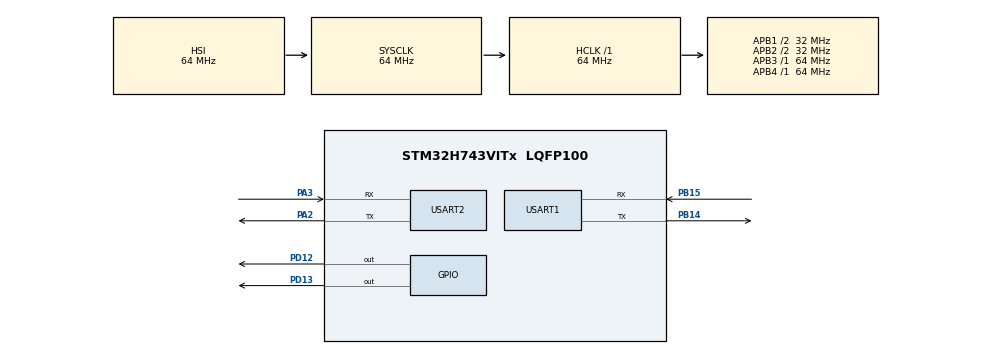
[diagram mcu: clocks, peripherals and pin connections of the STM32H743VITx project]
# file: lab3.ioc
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CORTEX_M7.default_mode_Activation=1
Mcu.Family=STM32H7
Mcu.Name=STM32H743VITx
Mcu.Package=LQFP100
NVIC.PriorityGroup=NVIC_PRIORITYGROUP_4
NVIC.USART1_IRQn=true\:0\:0\:false\:false\:true\:true\:true\:true
NVIC.USART2_IRQn=true\:0\:0\:false\:false\:true\:true\:true\:true
PA2.Mode=Asynchronous
PA2.Signal=USART2_TX
PA3.Mode=Asynchronous
PA3.Signal=USART2_RX
PB14.Mode=Asynchronous
PB14.Signal=USART1_TX
PB15.Mode=Asynchronous
PB15.Signal=USART1_RX
PD12.Signal=GPIO_Output
PD13.Signal=GPIO_Output
PH0-OSC_IN\ (PH0).Mode=HSE-External-Oscillator
PH0-OSC_IN\ (PH0).Signal=RCC_OSC_IN
PH1-OSC_OUT\ (PH1).Mode=HSE-External-Oscillator
PH1-OSC_OUT\ (PH1).Signal=RCC_OSC_OUT
ProjectManager.HeapSize=0x200
ProjectManager.StackSize=0x400
ProjectManager.TargetToolchain=STM32CubeIDE
RCC.ADCFreq_Value=129000000
RCC.APB1Freq_Value=32000000
RCC.APB2Freq_Value=32000000
RCC.APB3Freq_Value=64000000
RCC.APB4Freq_Value=64000000
RCC.CortexFreq_Value=64000000
RCC.D2PPRE1=RCC_APB1_DIV2
RCC.D2PPRE2=RCC_APB2_DIV2
RCC.HCLKFreq_Value=64000000
RCC.SYSCLKFreq_VALUE=64000000
RCC.USBFreq_Value=129000000
USART1.VirtualMode-Asynchronous=VM_ASYNC
USART2.VirtualMode-Asynchronous=VM_ASYNC
VP_MEMORYMAP_VS_MEMORYMAP.Mode=CurAppReg
board=custom

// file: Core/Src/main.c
/* USER CODE BEGIN Header */
/**
  ******************************************************************************
  * @file           : main.c
  * @brief          : Main program body
  ******************************************************************************
  * @attention
  *
  * Copyright (c) 2026 STMicroelectronics.
  * All rights reserved.
  *
  * This software is licensed under terms that can be found in the LICENSE file
  * in the root directory of this software component.
  * If no LICENSE file comes with this software, it is provided AS-IS.
  *
  ******************************************************************************
  */
/* USER CODE END Header */
#include "main.h"

/* USER CODE BEGIN Includes */
#include <string.h>
#include <ctype.h>
/* USER CODE END Includes */

/* USER CODE BEGIN PD */
#define DOT_MS 150 // Тривалість "крапки" у мілісекундах
/* USER CODE END PD */

UART_HandleTypeDef huart1;
UART_HandleTypeDef huart2;

/* USER CODE BEGIN PV */
uint8_t rx_buffer[5];          // Буфер для прийому 5 символів ("Test5")
uint8_t rx_flag = 0;           // Прапорець успішного прийому
uint32_t last_tx_time = 0;     // Час останньої передачі USART2

const char* morse_letters[] = {
    ".-", "-...", "-.-.", "-..", ".", "..-.", "--.", "....", "..", ".---",
    "-.-", ".-..", "--", "-.", "---", ".--.", "--.-", ".-.", "...", "-",
    "..-", "...-", ".--", "-..-", "-.--", "--.."
};
const char* morse_numbers[] = {
    "-----", ".----", "..---", "...--", "....-", ".....",
    "-....", "--...", "---..", "----."
};

/* USER CODE END PV */

void SystemClock_Config(void);
static void MPU_Config(void);
static void MX_GPIO_Init(void);
static void MX_USART1_UART_Init(void);
static void MX_USART2_UART_Init(void);

/* USER CODE BEGIN 0 */
void CustomDelayAndProcessTX(uint32_t delay_ms) {
    uint32_t start_time = HAL_GetTick();
    while ((HAL_GetTick() - start_time) < delay_ms) {
        // Якщо пройшла 1 секунда (1000 мс) - відправляємо дані
        if ((HAL_GetTick() - last_tx_time) >= 1000) {
            last_tx_time = HAL_GetTick();
            // Використовуємо переривання, щоб не блокувати цикл
            HAL_UART_Transmit_IT(&huart2, (uint8_t*)"Test5", 5);
        }
    }
}

// Функції для відтворення крапки та тире
void BlinkDot() {
    HAL_GPIO_WritePin(GPIOD, GPIO_PIN_12 | GPIO_PIN_13, GPIO_PIN_SET);
    CustomDelayAndProcessTX(DOT_MS);
    HAL_GPIO_WritePin(GPIOD, GPIO_PIN_12 | GPIO_PIN_13, GPIO_PIN_RESET);
    CustomDelayAndProcessTX(DOT_MS); // Пауза між символами однієї букви
}

void BlinkDash() {
    HAL_GPIO_WritePin(GPIOD, GPIO_PIN_12 | GPIO_PIN_13, GPIO_PIN_SET);
    CustomDelayAndProcessTX(DOT_MS * 3); // Тире = 3 крапки
    HAL_GPIO_WritePin(GPIOD, GPIO_PIN_12 | GPIO_PIN_13, GPIO_PIN_RESET);
    CustomDelayAndProcessTX(DOT_MS);
}

// Перетворення рядка у Морзе
void PlayMorseString(char* str, uint16_t len) {
    for(int i = 0; i < len; i++) {
        char c = toupper(str[i]);
        const char* sequence = NULL;

        if(c >= 'A' && c <= 'Z') sequence = morse_letters[c - 'A'];
        else if(c >= '0' && c <= '9') sequence = morse_numbers[c - '0'];

        if(sequence) {
            for(int j = 0; sequence[j] != '\0'; j++) {
                if(sequence[j] == '.') BlinkDot();
                else if(sequence[j] == '-') BlinkDash();
            }
            // Пауза між буквами (вже була затримка DOT_MS, додаємо ще 2)
            CustomDelayAndProcessTX(DOT_MS * 2);
        }
    }
    // Пауза між словами (зазвичай 7 крапок)
    CustomDelayAndProcessTX(DOT_MS * 4);
}

// Коллбек: викликається, коли USART1 прийняв усі 5 символів
void HAL_UART_RxCpltCallback(UART_HandleTypeDef *huart) {
    if (huart->Instance == USART1) {
        rx_flag = 1;
        // Знову вмикаємо прийом наступних 5 байт
        HAL_UART_Receive_IT(&huart1, rx_buffer, 5);
    }
}
/* USER CODE END 0 */

int main(void)
{

  /* MPU Configuration--------------------------------------------------------*/
  MPU_Config();

  /* MCU Configuration--------------------------------------------------------*/

  /* Reset of all peripherals, Initializes the Flash interface and the Systick. */
  HAL_Init();

  /* Configure the system clock */
  SystemClock_Config();

  /* Initialize all configured peripherals */
  MX_GPIO_Init();
  MX_USART1_UART_Init();
  MX_USART2_UART_Init();
  /* USER CODE BEGIN 2 */
  HAL_UART_Receive_IT(&huart1, rx_buffer, 5);
  last_tx_time = HAL_GetTick(); // Ініціалізуємо таймер
  /* USER CODE END 2 */

  /* Infinite loop */
  while (1)
  {

    /* USER CODE BEGIN 3 */
	  CustomDelayAndProcessTX(10);І
	      // Якщо отримали дані - відтворюємо Морзе
	      if (rx_flag == 1) {
	          rx_flag = 0;
	          PlayMorseString((char*)rx_buffer, 5);
	      }
  }
  /* USER CODE END 3 */
}

void SystemClock_Config(void)
{
  RCC_OscInitTypeDef RCC_OscInitStruct = {0};
  RCC_ClkInitTypeDef RCC_ClkInitStruct = {0};

  /** Supply configuration update enable
  */
  HAL_PWREx_ConfigSupply(PWR_LDO_SUPPLY);

  /** Configure the main internal regulator output voltage
  */
  __HAL_PWR_VOLTAGESCALING_CONFIG(PWR_REGULATOR_VOLTAGE_SCALE3);

  while(!__HAL_PWR_GET_FLAG(PWR_FLAG_VOSRDY)) {}

  /** Initializes the RCC Oscillators according to the specified parameters
  * in the RCC_OscInitTypeDef structure.
  */
  RCC_OscInitStruct.OscillatorType = RCC_OSCILLATORTYPE_HSI;
  RCC_OscInitStruct.HSIState = RCC_HSI_DIV1;
  RCC_OscInitStruct.HSICalibrationValue = RCC_HSICALIBRATION_DEFAULT;
  RCC_OscInitStruct.PLL.PLLState = RCC_PLL_NONE;
  if (HAL_RCC_OscConfig(&RCC_OscInitStruct) != HAL_OK)
  {
    Error_Handler();
  }

  /** Initializes the CPU, AHB and APB buses clocks
  */
  RCC_ClkInitStruct.ClockType = RCC_CLOCKTYPE_HCLK|RCC_CLOCKTYPE_SYSCLK
                              |RCC_CLOCKTYPE_PCLK1|RCC_CLOCKTYPE_PCLK2
                              |RCC_CLOCKTYPE_D3PCLK1|RCC_CLOCKTYPE_D1PCLK1;
  RCC_ClkInitStruct.SYSCLKSource = RCC_SYSCLKSOURCE_HSI;
  RCC_ClkInitStruct.SYSCLKDivider = RCC_SYSCLK_DIV1;
  RCC_ClkInitStruct.AHBCLKDivider = RCC_HCLK_DIV1;
  RCC_ClkInitStruct.APB3CLKDivider = RCC_APB3_DIV1;
  RCC_ClkInitStruct.APB1CLKDivider = RCC_APB1_DIV2;
  RCC_ClkInitStruct.APB2CLKDivider = RCC_APB2_DIV2;
  RCC_ClkInitStruct.APB4CLKDivider = RCC_APB4_DIV1;

  if (HAL_RCC_ClockConfig(&RCC_ClkInitStruct, FLASH_LATENCY_1) != HAL_OK)
  {
    Error_Handler();
  }
}

static void MX_USART1_UART_Init(void)
{

  huart1.Instance = USART1;
  huart1.Init.BaudRate = 115200;
  huart1.Init.WordLength = UART_WORDLENGTH_8B;
  huart1.Init.StopBits = UART_STOPBITS_1;
  huart1.Init.Parity = UART_PARITY_NONE;
  huart1.Init.Mode = UART_MODE_TX_RX;
  huart1.Init.HwFlowCtl = UART_HWCONTROL_NONE;
  huart1.Init.OverSampling = UART_OVERSAMPLING_16;
  huart1.Init.OneBitSampling = UART_ONE_BIT_SAMPLE_DISABLE;
  huart1.Init.ClockPrescaler = UART_PRESCALER_DIV1;
  huart1.AdvancedInit.AdvFeatureInit = UART_ADVFEATURE_NO_INIT;
  if (HAL_UART_Init(&huart1) != HAL_OK)
  {
    Error_Handler();
  }
  if (HAL_UARTEx_SetTxFifoThreshold(&huart1, UART_TXFIFO_THRESHOLD_1_8) != HAL_OK)
  {
    Error_Handler();
  }
  if (HAL_UARTEx_SetRxFifoThreshold(&huart1, UART_RXFIFO_THRESHOLD_1_8) != HAL_OK)
  {
    Error_Handler();
  }
  if (HAL_UARTEx_DisableFifoMode(&huart1) != HAL_OK)
  {
    Error_Handler();
  }

}

static void MX_USART2_UART_Init(void)
{

  huart2.Instance = USART2;
  huart2.Init.BaudRate = 115200;
  huart2.Init.WordLength = UART_WORDLENGTH_8B;
  huart2.Init.StopBits = UART_STOPBITS_1;
  huart2.Init.Parity = UART_PARITY_NONE;
  huart2.Init.Mode = UART_MODE_TX_RX;
  huart2.Init.HwFlowCtl = UART_HWCONTROL_NONE;
  huart2.Init.OverSampling = UART_OVERSAMPLING_16;
  huart2.Init.OneBitSampling = UART_ONE_BIT_SAMPLE_DISABLE;
  huart2.Init.ClockPrescaler = UART_PRESCALER_DIV1;
  huart2.AdvancedInit.AdvFeatureInit = UART_ADVFEATURE_NO_INIT;
  if (HAL_UART_Init(&huart2) != HAL_OK)
  {
    Error_Handler();
  }
  if (HAL_UARTEx_SetTxFifoThreshold(&huart2, UART_TXFIFO_THRESHOLD_1_8) != HAL_OK)
  {
    Error_Handler();
  }
  if (HAL_UARTEx_SetRxFifoThreshold(&huart2, UART_RXFIFO_THRESHOLD_1_8) != HAL_OK)
  {
    Error_Handler();
  }
  if (HAL_UARTEx_DisableFifoMode(&huart2) != HAL_OK)
  {
    Error_Handler();
  }

}

static void MX_GPIO_Init(void)
{
  GPIO_InitTypeDef GPIO_InitStruct = {0};

  /* GPIO Ports Clock Enable */
  __HAL_RCC_GPIOH_CLK_ENABLE();
  __HAL_RCC_GPIOA_CLK_ENABLE();
  __HAL_RCC_GPIOB_CLK_ENABLE();
  __HAL_RCC_GPIOD_CLK_ENABLE();

  /*Configure GPIO pin Output Level */
  HAL_GPIO_WritePin(GPIOD, GPIO_PIN_12|GPIO_PIN_13, GPIO_PIN_RESET);

  /*Configure GPIO pins : PD12 PD13 */
  GPIO_InitStruct.Pin = GPIO_PIN_12|GPIO_PIN_13;
  GPIO_InitStruct.Mode = GPIO_MODE_OUTPUT_PP;
  GPIO_InitStruct.Pull = GPIO_NOPULL;
  GPIO_InitStruct.Speed = GPIO_SPEED_FREQ_LOW;
  HAL_GPIO_Init(GPIOD, &GPIO_InitStruct);

}

 /* MPU Configuration */

void MPU_Config(void)
{
  MPU_Region_InitTypeDef MPU_InitStruct = {0};

  /* Disables the MPU */
  HAL_MPU_Disable();

  /** Initializes and configures the Region and the memory to be protected
  */
  MPU_InitStruct.Enable = MPU_REGION_ENABLE;
  MPU_InitStruct.Number = MPU_REGION_NUMBER0;
  MPU_InitStruct.BaseAddress = 0x0;
  MPU_InitStruct.Size = MPU_REGION_SIZE_4GB;
  MPU_InitStruct.SubRegionDisable = 0x87;
  MPU_InitStruct.TypeExtField = MPU_TEX_LEVEL0;
  MPU_InitStruct.AccessPermission = MPU_REGION_NO_ACCESS;
  MPU_InitStruct.DisableExec = MPU_INSTRUCTION_ACCESS_DISABLE;
  MPU_InitStruct.IsShareable = MPU_ACCESS_SHAREABLE;
  MPU_InitStruct.IsCacheable = MPU_ACCESS_NOT_CACHEABLE;
  MPU_InitStruct.IsBufferable = MPU_ACCESS_NOT_BUFFERABLE;

  HAL_MPU_ConfigRegion(&MPU_InitStruct);
  /* Enables the MPU */
  HAL_MPU_Enable(MPU_PRIVILEGED_DEFAULT);

}

void Error_Handler(void)
{
  __disable_irq();
  while (1)
  {
  }
}
